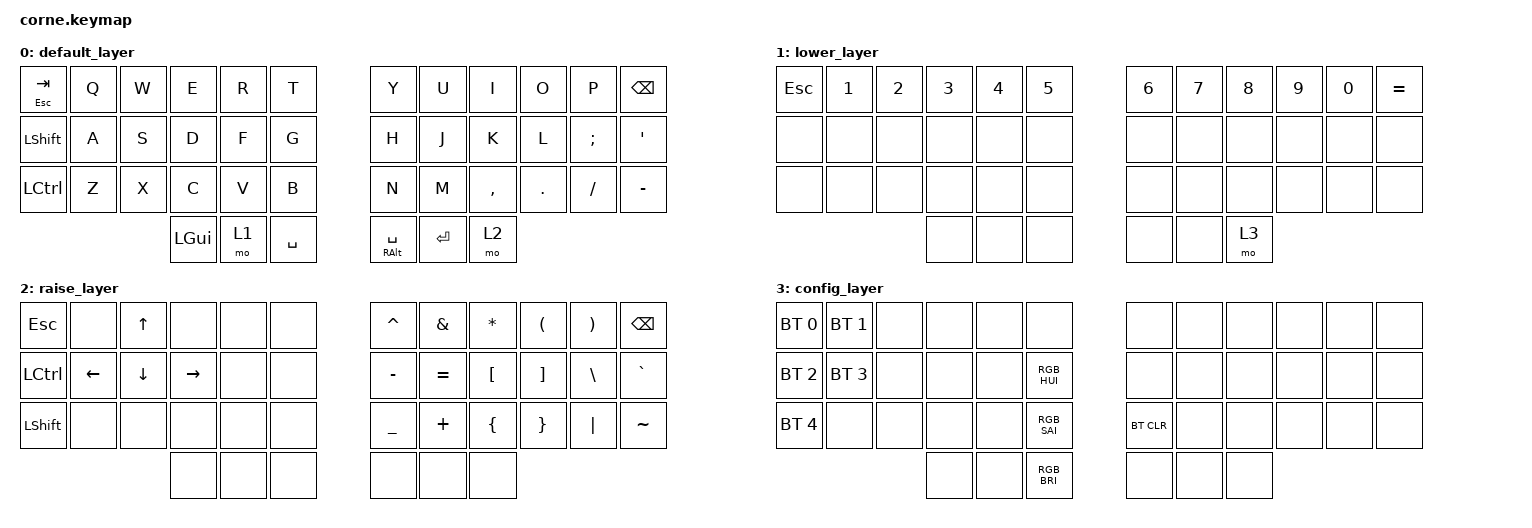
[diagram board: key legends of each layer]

/*
* Copyright (c) 2020 The ZMK Contributors
*
* SPDX-License-Identifier: MIT
*/

#include <behaviors.dtsi>
#include <dt-bindings/zmk/keys.h>
#include <dt-bindings/zmk/bt.h>
/ {
    behaviors {
     
    };
};
/ {
    behaviors {

        rgb_ug: rgb_underglow {
            compatible = "zmk,behavior-rgb-underglow";
        };

        pht: positional_hold_tap {
            compatible = "zmk,behavior-hold-tap";
            #binding-cells = <2>;
            flavor = "hold-preferred";
            tapping-term-ms = <400>;
            quick-tap-ms = <200>;
            bindings = <&kp>, <&kp>;
            hold-trigger-key-positions = <1>;
        };
    };

keymap {
compatible = "zmk,keymap";

default_layer {
// -----------------------------------------------------------------------------------------
// |  TAB |  Q  |  W  |  E  |  R  |  T  |                                                            |  Y  |  U   |  I  |  O  |  P  | BKSP |
// | LSHFT|  A  |  S  |  D  |  F  |  G  |                                                            |  H  |  J   |  K  |  L  |  :  |  '   |
// | CTRL |  Z  |  X  |  C  |  V  |  B  |                                                            |  N  |  M   |  ,  |  .  |  /  |  -   |
//                    | GUI | mod2| SPC |                                                            | SPC | ENT  | mod1|
bindings = <
&pht ESC TAB    &kp Q &kp W &kp E    &kp R &kp T                                                           &kp Y &kp U  &kp I     &kp O    &kp P    &kp BSPC
&kp LSHFT       &kp A &kp S &kp D    &kp F &kp G                                                           &kp H &kp J  &kp K     &kp L    &kp SEMICOLON &kp SQT
&kp LCTRL       &kp Z &kp X &kp C    &kp V &kp B                                                           &kp N &kp M  &kp COMMA &kp DOT  &kp FSLH &kp MINUS                     
                       &kp LGUI &mo 1 &kp SPACE                                                       &pht RIGHT_ALT SPACE   &kp RET  &mo 2
>;
};
lower_layer {
// -----------------------------------------------------------------------------------------
// |  ESC |  1  |  2  |  3  |  4  |  5  |                                                            |  6  |  7  |  8  |  9  |  0  |   =  |
// |      |     |     |     |     |     |                                                            |     |     |     |     |     |      |
// |      |     |     |     |     |     |                                                            |     |     |     |     |     |      |
//                    |     |     |     |                                                            |     |     |mod3 |
bindings = <
   
   &kp ESC    &kp N1       &kp  N2      &kp N3     &kp N4   &kp N5                                  &kp N6      &kp N7  &kp N8 &kp N9   &kp N0    &kp EQUAL
   &none      &none        &none        &none      &none   &none                                    &none       &none   &none  &none    &none  &none
   &none      &none        &none        &none      &none   &none                                    &none       &none   &none  &none    &none  &none
                                        &none      &none    &none                                   &none       &none   &mo 3
>; 
};

raise_layer {
// -----------------------------------------------------------------------------------------
// |  ESC  |  !  |  @  |  #  |  $  |  %  |                                                            |  ^  |  &  |  *  |  (  |  )  | BKSP |
// | LCTRL |     |     |     |     |     |                                                            |  -  |  =  |  [  |  ]  |  \  |  `   |
// | LSHFT |     |     |     |     |     |                                                            |  _  |  +  |  {  |  }  | "|" |  ~   |
//                     |     |     |     |                                                            |     |     |     |
bindings = <
&kp ESC     &none      &kp UP       &none      &none     &none                                               &kp CARET &kp AMPS  &kp ASTRK &kp LPAR  &kp RPAR &kp BSPC
&kp LCTRL   &kp LEFT   &kp DOWN     &kp RIGHT  &none     &none                                         &kp MINUS &kp EQUAL &kp LBKT  &kp RBKT  &kp BSLH &kp GRAVE
&kp LSHFT   &none      &none        &none      &none     &none                                         &kp UNDER &kp PLUS  &kp LBRC  &kp RBRC  &kp PIPE &kp TILDE //&kp UNDER &kp PLUS  &kp LCURL &kp RCURL &kp PIPE &kp TILDE
                                    &none      &none     &none                                         &none    &none    &none
>;
};

config_layer {
// -----------------------------------------------------------------------------------------
// |  BT1 | BT2 |     |     |     |     |                                                             |     |     |     |     |     |      |
// |  BT3 | BT4 |     |     |     |     |                                                             |     |     |     |     |     |      |
// |  BT5 |     |     |     |     |     |                                                             |BTCLR|     |     |     |     |      |
//                    |     |     |     |                                                             |     |     |     |
bindings = <
&bt BT_SEL 0 &bt BT_SEL 1 &none   &none     &none    &none                                       &none       &none    &none  &none   &none   &none 
&bt BT_SEL 2 &bt BT_SEL 3 &none   &none     &none    &RGB_HUI                                       &none       &none    &none  &none   &none   &none
&bt BT_SEL 4 &none        &none   &none     &none    &RGB_SAI                                        &bt BT_CLR  &none    &none  &none   &none   &none
                                  &none     &none    &RGB_BRI                                        &none       &none    &none
>;
};

};
};
